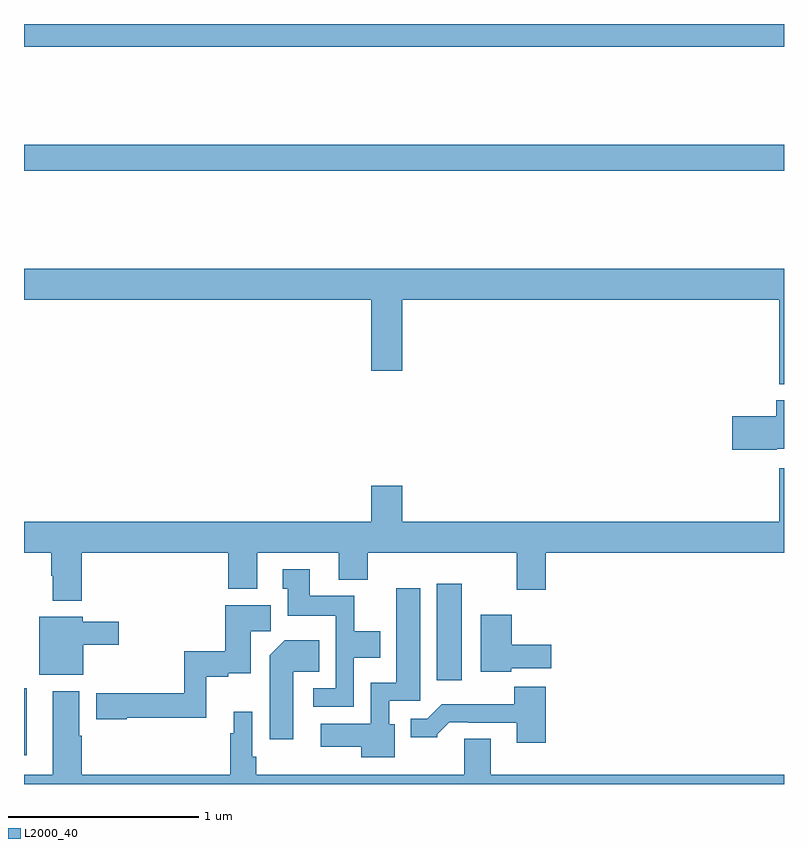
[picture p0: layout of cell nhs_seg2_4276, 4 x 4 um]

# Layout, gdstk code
import gdstk
lib = gdstk.Library(unit=1e-6, precision=1e-09)
def R(c, l, rs):  # rectangles x0, y0, x1, y1
    for r in rs: c.add(gdstk.rectangle(r[:2], r[2:], *l))
def P(c, l, *ps):  # polygons
    for p in ps: c.add(gdstk.Polygon(p, *l))
L2000_40 = (2000, 40)

nhs_seg2_4276 = lib.new_cell('nhs_seg2_4276')
R(nhs_seg2_4276, L2000_40, [(343,599.952,343.015,600.304), (345.173,600.345,345.304,600.853), (343,603.028,347,603.164), (343,603.68,347,603.8)])
P(nhs_seg2_4276, L2000_40, [(347,602.512),(343,602.512),(343,602.348),(344.828,602.348),(344.828,601.974),(344.992,601.974),(344.992,602.348),(346.974,602.348),(346.974,601.904),(347,601.904)],
  [(346.962,601.565),(347,601.565),(347,601.819),(346.958,601.819),(346.958,601.736),(346.728,601.736),(346.728,601.558),(346.962,601.558)],
  [(343.304,601.016),(344.075,601.016),(344.075,600.827),(344.227,600.827),(344.227,601.016),(344.657,601.016),(344.657,600.875),(344.81,600.875),(344.81,601.016),(345.593,601.016),(345.593,600.822),(345.746,600.822),(345.746,601.016),(347,601.016),(347,601.462),(346.974,601.462),(346.974,601.18),(344.992,601.18),(344.992,601.369),(344.828,601.369),(344.828,601.18),(343,601.18),(343,601.016),(343.144,601.016),(343.144,600.896),(343.151,600.896),(343.151,600.764),(343.304,600.764)],
  [(344.736,600.464),(344.875,600.464),(344.875,600.604),(344.739,600.604),(344.739,600.79),(344.503,600.79),(344.503,600.931),(344.363,600.931),(344.363,600.828),(344.387,600.828),(344.387,600.686),(344.64,600.686),(344.64,600.303),(344.523,600.303),(344.523,600.207),(344.736,600.207)],
  [(344.95,600.114),(344.922,600.114),(344.922,600.237),(345.085,600.237),(345.085,600.829),(344.96,600.829),(344.96,600.334),(344.826,600.334),(344.826,600.118),(344.562,600.118),(344.562,599.996),(344.774,599.996),(344.774,599.942),(344.95,599.942)],
  [(343.542,600.15),(343.96,600.15),(343.96,600.364),(344.076,600.364),(344.076,600.383),(344.194,600.383),(344.194,600.604),(344.299,600.604),(344.299,600.742),(344.06,600.742),(344.06,600.5),(343.843,600.5),(343.843,600.278),(343.38,600.278),(343.38,600.142),(343.542,600.142)],
  [(345.564,600.41),(345.775,600.41),(345.775,600.532),(345.568,600.532),(345.568,600.691),(345.404,600.691),(345.404,600.392),(345.564,600.392)],
  [(343.312,600.533),(343.498,600.533),(343.498,600.655),(343.308,600.655),(343.308,600.679),(343.079,600.679),(343.079,600.374),(343.312,600.374)],
  [(344.416,600.392),(344.555,600.392),(344.555,600.556),(344.372,600.556),(344.294,600.478),(344.294,600.036),(344.416,600.036)],
  [(345.746,600.313),(345.581,600.313),(345.581,600.22),(345.199,600.22),(345.123,600.144),(345.035,600.144),(345.035,600.047),(345.174,600.047),(345.174,600.062),(345.238,600.126),(345.337,600.126),(345.337,600.123),(345.593,600.123),(345.593,600.018),(345.746,600.018)],
  [(347,599.848),(345.457,599.848),(345.457,600.038),(345.317,600.038),(345.317,599.848),(344.222,599.848),(344.222,599.944),(344.202,599.944),(344.202,600.181),(344.105,600.181),(344.105,600.068),(344.086,600.068),(344.086,599.848),(343.304,599.848),(343.304,600.053),(343.291,600.053),(343.291,600.289),(343.151,600.289),(343.151,599.848),(343,599.848),(343,599.8),(347,599.8)])

lib.write_gds('nhs_seg2_4276.gds')
